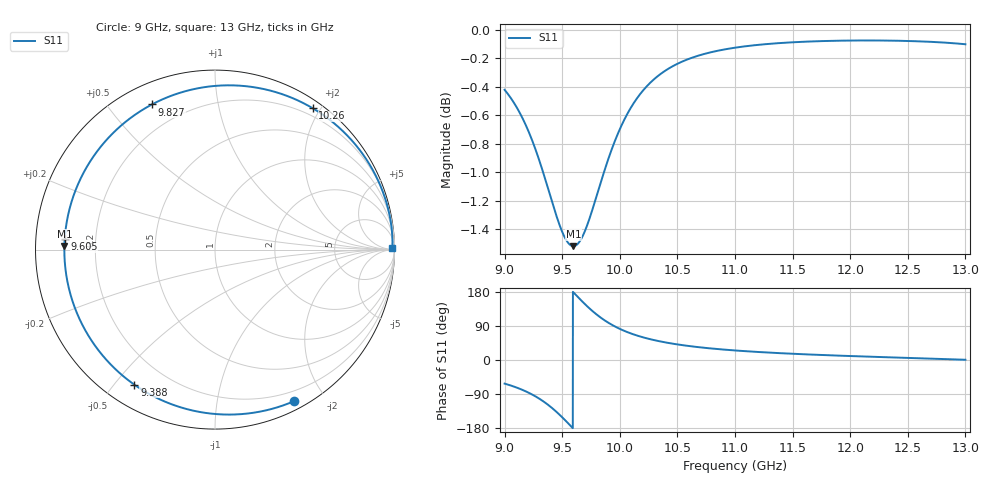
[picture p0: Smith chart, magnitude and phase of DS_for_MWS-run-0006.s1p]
! TOUCHSTONE file generated by CST DESIGN STUDIO
! Date and time: Wed Feb  5 13:34:25 2025
! Project name: C:\Work\MatlabApps\UnitCellOptimizationMatlab\CST\unitcell.cst
! Tree item: Tasks\Sweep1\SPara1\S-Parameters
! Header version: 2024
! Port assignment regex: !\s*Touchstone port\s*([0-9]+)\s*=\s*(CST MWS port|CST DES external port|CST DES block port)\s*(.+)\s* \(\"(.*)\"\)(\s*mode\s*([0-9]+))?.*
! Touchstone port assignment:
! Touchstone port 1 = CST DES external port 1 ("")
# GHz S MA R 50
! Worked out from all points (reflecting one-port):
!   4001 points, 9 GHz to 13 GHz, reference 50 ohm
!   lowest |S11| = -1.5 dB at 9.597 GHz (marker M1), VSWR 11.45, Z = 4.37 + j0.616 ohm
!   phase of S11 starts at -62 deg and turns -297 deg over the sweep
!   S11 on the Smith chart (normalised r, x): 9 GHz: 0.09, -1.65; 9.388 GHz: 0.09, -0.56; 9.605 GHz: 0.09, +0.03; 9.827 GHz: 0.09, +0.65; 10.26 GHz: 0.10, +1.90; 13 GHz: open
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9  0.9526 -62.3
9.047  0.9471 -66.7
9.116  0.9375 -74.1
9.235  0.9153 -90.4
9.316  0.8958 -105.0
9.388  0.8765 -120.8
9.443  0.8619 -134.9
9.5  0.8491 -151.1
9.55  0.8418 -166.5
9.597  0.8394 178.6
9.605  0.8394 176.0
9.661  0.8438 158.4
9.723  0.8551 140.0
9.775  0.8679 126.0
9.827  0.8817 113.5
9.906  0.9021 97.4
10  0.9227 82.1
10.06  0.9333 74.3
10.122  0.9425 67.3
10.258  0.9575 55.3
10.371  0.966 47.8
10.5  0.9728 41.1
10.72  0.9803 32.7
11  0.9856 25.2
11.5  0.9899 16.4
12  0.9913 10.5
12.5  0.991 5.5
13  0.9883 0.6
